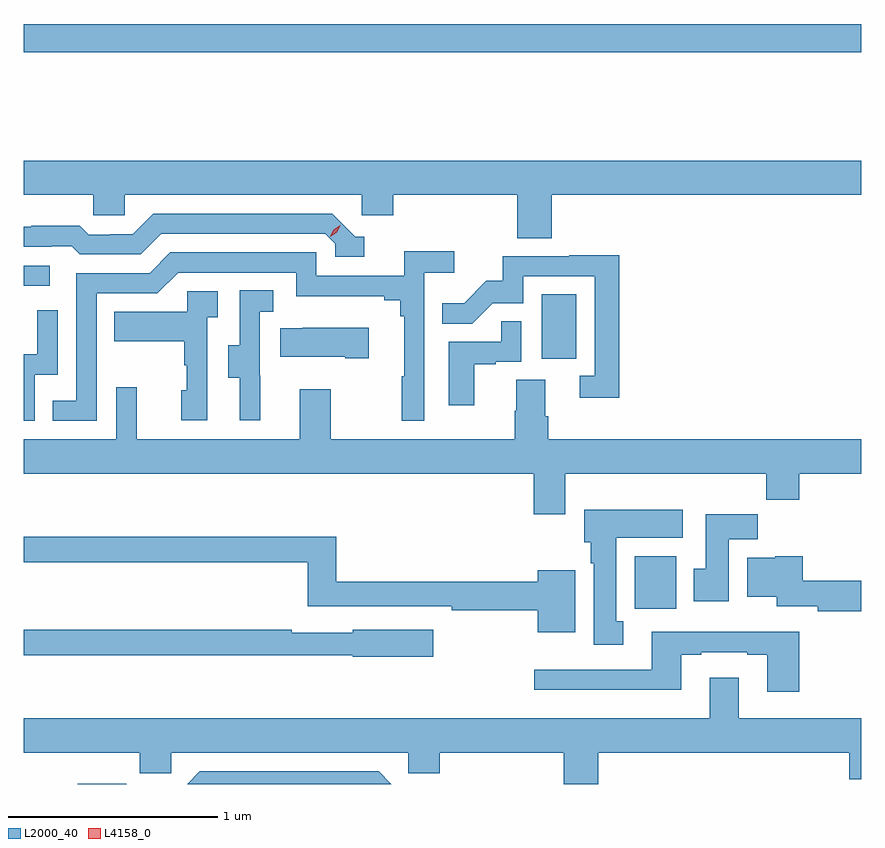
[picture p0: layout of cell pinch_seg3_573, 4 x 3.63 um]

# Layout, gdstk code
import gdstk
lib = gdstk.Library(unit=1e-6, precision=1e-09)
def R(c, l, rs):  # rectangles x0, y0, x1, y1
    for r in rs: c.add(gdstk.rectangle(r[:2], r[2:], *l))
def P(c, l, *ps):  # polygons
    for p in ps: c.add(gdstk.Polygon(p, *l))
L2000_40 = (2000, 40)
L4158_0 = (4158, 0)

pinch_seg3_573 = lib.new_cell('pinch_seg3_573')
R(pinch_seg3_573, L2000_40, [(1071.567,698.94,1071.763,699.19), (1071.122,700.134,1071.286,700.441), (1068.648,700.482,1068.772,700.578), (1068.648,701.596,1072.648,701.732)])
P(pinch_seg3_573, L2000_40, [(1071.17,700.916),(1072.648,700.916),(1072.648,701.08),(1068.648,701.08),(1068.648,700.916),(1068.981,700.916),(1068.981,700.818),(1069.131,700.818),(1069.131,700.916),(1070.262,700.916),(1070.262,700.818),(1070.414,700.818),(1070.414,700.916),(1071.005,700.916),(1071.005,700.708),(1071.17,700.708)],
  [(1070.275,700.716),(1070.232,700.716),(1070.121,700.827),(1069.268,700.827),(1069.169,700.728),(1069.062,700.728),(1069.062,700.725),(1068.959,700.725),(1068.917,700.768),(1068.684,700.768),(1068.684,700.765),(1068.648,700.765),(1068.648,700.668),(1068.779,700.668),(1068.779,700.671),(1068.878,700.671),(1068.917,700.632),(1069.206,700.632),(1069.305,700.731),(1070.088,700.731),(1070.136,700.683),(1070.136,700.62),(1070.275,700.62)],
  [(1068.996,700.446),(1069.287,700.446),(1069.386,700.545),(1069.95,700.545),(1069.95,700.433),(1070.369,700.433),(1070.369,700.414),(1070.446,700.414),(1070.446,700.337),(1070.465,700.337),(1070.465,700.049),(1070.454,700.049),(1070.454,699.837),(1070.562,699.837),(1070.562,700.544),(1070.704,700.544),(1070.704,700.646),(1070.465,700.646),(1070.465,700.53),(1070.046,700.53),(1070.046,700.641),(1069.349,700.641),(1069.25,700.542),(1068.9,700.542),(1068.9,699.933),(1068.787,699.933),(1068.787,699.837),(1068.996,699.837)],
  [(1071.491,700.628),(1071.253,700.628),(1071.253,700.623),(1070.935,700.623),(1070.935,700.506),(1070.858,700.506),(1070.751,700.399),(1070.647,700.399),(1070.647,700.3),(1070.79,700.3),(1070.888,700.398),(1071.033,700.398),(1071.033,700.527),(1071.375,700.527),(1071.375,700.053),(1071.303,700.053),(1071.303,699.948),(1071.491,699.948)],
  [(1069.778,700.053),(1069.776,700.053),(1069.776,700.357),(1069.84,700.357),(1069.84,700.46),(1069.68,700.46),(1069.68,700.197),(1069.625,700.197),(1069.625,700.042),(1069.679,700.042),(1069.679,699.84),(1069.778,699.84)],
  [(1069.524,700.331),(1069.576,700.331),(1069.576,700.455),(1069.428,700.455),(1069.428,700.357),(1069.081,700.357),(1069.081,700.217),(1069.416,700.217),(1069.416,700.103),(1069.426,700.103),(1069.426,699.984),(1069.4,699.984),(1069.4,699.84),(1069.524,699.84)],
  [(1068.702,700.056),(1068.81,700.056),(1068.81,700.366),(1068.714,700.366),(1068.714,700.154),(1068.648,700.154),(1068.648,699.837),(1068.702,699.837)],
  [(1070.8,700.107),(1070.903,700.107),(1070.903,700.119),(1071.024,700.119),(1071.024,700.313),(1070.929,700.313),(1070.929,700.215),(1070.678,700.215),(1070.678,699.912),(1070.8,699.912)],
  [(1070.296,700.282),(1069.981,700.282),(1069.981,700.279),(1069.873,700.279),(1069.873,700.142),(1070.183,700.142),(1070.183,700.135),(1070.296,700.135)],
  [(1071.235,699.584),(1072.195,699.584),(1072.195,699.46),(1072.352,699.46),(1072.352,699.584),(1072.648,699.584),(1072.648,699.748),(1071.152,699.748),(1071.152,699.86),(1071.139,699.86),(1071.139,700.034),(1070.999,700.034),(1070.999,699.885),(1070.992,699.885),(1070.992,699.748),(1070.115,699.748),(1070.115,699.988),(1069.967,699.988),(1069.967,699.748),(1069.187,699.748),(1069.187,699.997),(1069.089,699.997),(1069.089,699.748),(1068.648,699.748),(1068.648,699.584),(1071.083,699.584),(1071.083,699.39),(1071.235,699.39)],
  [(1071.511,698.881),(1071.478,698.881),(1071.478,699.278),(1071.796,699.278),(1071.796,699.412),(1071.326,699.412),(1071.326,699.258),(1071.356,699.258),(1071.356,699.158),(1071.371,699.158),(1071.371,698.769),(1071.511,698.769)],
  [(1072.015,699.272),(1072.154,699.272),(1072.154,699.391),(1071.905,699.391),(1071.905,699.132),(1071.848,699.132),(1071.848,698.976),(1072.015,698.976)],
  [(1071.283,699.124),(1071.104,699.124),(1071.104,699.068),(1070.141,699.068),(1070.141,699.283),(1068.648,699.283),(1068.648,699.162),(1070.005,699.162),(1070.005,698.952),(1070.692,698.952),(1070.692,698.932),(1071.104,698.932),(1071.104,698.828),(1071.283,698.828)],
  [(1072.648,699.074),(1072.367,699.074),(1072.367,699.19),(1072.236,699.19),(1072.236,699.184),(1072.103,699.184),(1072.103,698.996),(1072.244,698.996),(1072.244,698.951),(1072.44,698.951),(1072.44,698.927),(1072.648,698.927)],
  [(1070.605,698.839),(1070.22,698.839),(1070.22,698.826),(1069.928,698.826),(1069.928,698.839),(1068.648,698.839),(1068.648,698.718),(1070.22,698.718),(1070.22,698.71),(1070.605,698.71)],
  [(1072.352,698.83),(1071.647,698.83),(1071.647,698.649),(1071.087,698.649),(1071.087,698.552),(1071.787,698.552),(1071.787,698.721),(1071.883,698.721),(1071.883,698.733),(1072.103,698.733),(1072.103,698.721),(1072.199,698.721),(1072.199,698.544),(1072.352,698.544)],
  [(1071.392,698.252),(1072.591,698.252),(1072.591,698.125),(1072.648,698.125),(1072.648,698.416),(1072.063,698.416),(1072.063,698.611),(1071.923,698.611),(1071.923,698.416),(1068.648,698.416),(1068.648,698.252),(1069.203,698.252),(1069.203,698.154),(1069.353,698.154),(1069.353,698.252),(1070.484,698.252),(1070.484,698.154),(1070.636,698.154),(1070.636,698.252),(1071.227,698.252),(1071.227,698.103),(1071.392,698.103)],
  [(1070.343,698.163),(1069.49,698.163),(1069.43,698.103),(1070.403,698.103)],
  [(1069.139,698.104),(1068.906,698.104),(1068.906,698.103),(1069.14,698.103)])
P(pinch_seg3_573, L4158_0, [(1070.111,700.717),(1070.111,700.718),(1070.128,700.75),(1070.159,700.77),(1070.159,700.77),(1070.159,700.769),(1070.142,700.737),(1070.112,700.717)])

lib.write_gds('pinch_seg3_573.gds')
